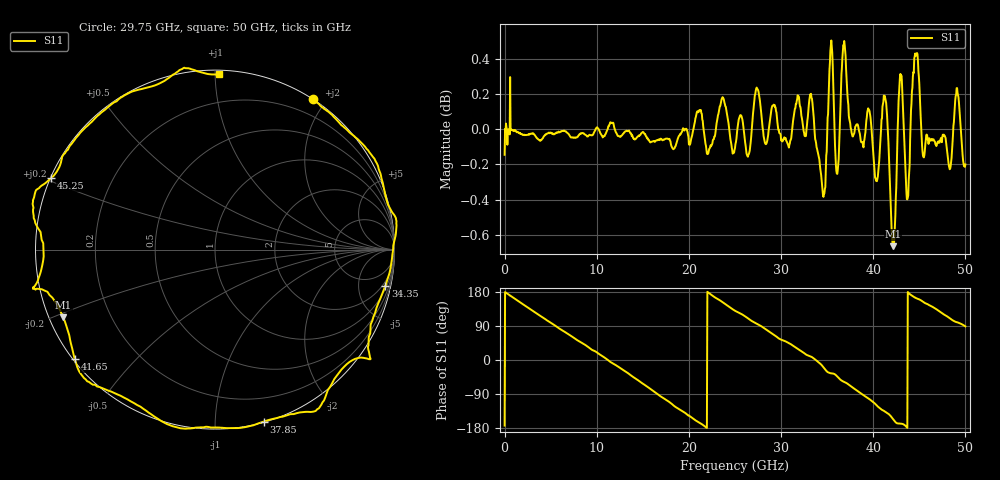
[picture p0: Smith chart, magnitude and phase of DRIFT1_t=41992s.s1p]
!Created with skrf (http://scikit-rf.org).
# Hz S RI R 50.0
!freq ReS11 ImS11
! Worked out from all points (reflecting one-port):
!   1001 points, 300 kHz to 50 GHz, reference 50 ohm
!   lowest |S11| = -0.7 dB at 42.15 GHz (marker M1), VSWR 26.11, Z = 2 - j10.6 ohm
!   phase of S11 starts at -173 deg and turns -818 deg over the sweep
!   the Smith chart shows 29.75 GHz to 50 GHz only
!   S11 on the Smith chart (normalised r, x): 29.75 GHz: 0.00, +1.85; 34.35 GHz: 1.34, -9.29; 37.85 GHz: 0.01, -1.32; 41.65 GHz: 0.00, -0.34; 45.25 GHz: 0.00, +0.21; 50 GHz: 0.02, +1.02
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300000  -0.9762 -0.1185
1.450291e9  -0.9125 0.4046
3.25028e9  -0.5925 0.8011
6.250262e9  0.2009 0.9785
9.500243e9  0.8915 0.4441
1.250022e10  0.9323 -0.3488
1.580021e10  0.2401 -0.962
1.74002e10  -0.2211 -0.9687
1.875019e10  -0.5969 -0.7939
2.150017e10  -0.9932 -0.1565
2.350016e10  -0.9251 0.4264
2.500015e10  -0.6339 0.7576
2.740014e10  -0.0982 1.022
2.975012e10  0.5466 0.837
3.125011e10  0.7853 0.6231
3.31501e10  1.008 0.1753
3.435009e10  0.949 -0.2023
3.520009e10  0.8576 -0.5688
3.750008e10  0.3755 -0.9312
3.785007e10  0.2726 -0.9582
3.960006e10  -0.2367 -0.9837
4.165005e10  -0.7814 -0.6097
4.215005e10  -0.846 -0.3769
4.290004e10  -1.012 -0.218
4.375004e10  -0.9561 0.0102
4.525003e10  -0.9119 0.3991
4.770001e10  -0.4928 0.8654
5e10  0.0214 0.977
